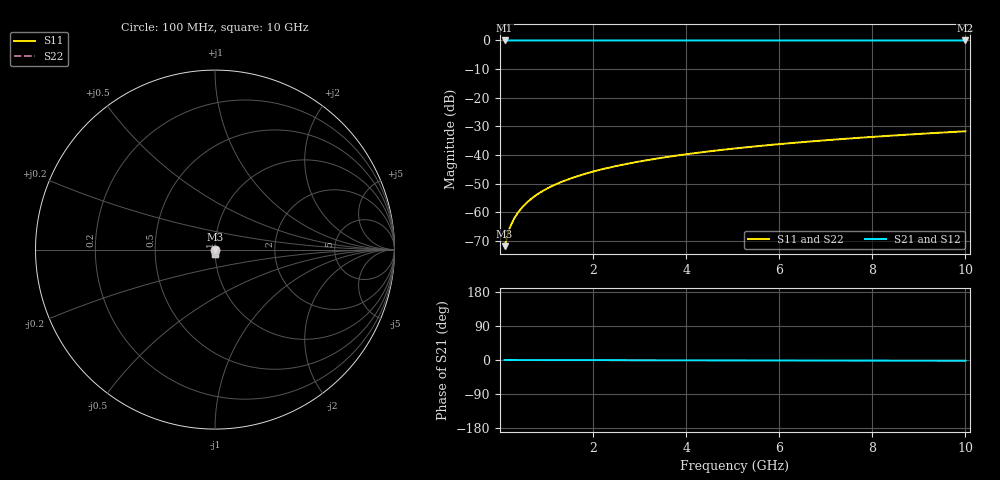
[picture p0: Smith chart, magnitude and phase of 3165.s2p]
# Hz S RI R 50.00
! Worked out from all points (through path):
!   100 points, 100 MHz to 10 GHz, reference 50 ohm
!   highest |S21| = 0.00 dB at 100 MHz (marker M1); lowest = 0.0 dB at 10 GHz (marker M2)
!   lowest |S11| = -71.8 dB at 100 MHz (marker M3), VSWR 1.00, Z = 50 - j0.0258 ohm
!   |S11| at or under -10 dB: start of sweep to end of sweep
!   |S22| runs from -71.8 to -31.7 dB; largest |S21 - S12| = 0
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1e8  1.74e-05 -0.000258  1 -0.000359  1 -0.000359  1.74e-05 -0.000258
2e8  1.69e-05 -0.000515  1 -0.000719  1 -0.000719  1.69e-05 -0.000515
3e8  1.63e-05 -0.000773  1 -0.00108  1 -0.00108  1.63e-05 -0.000773
4e8  1.54e-05 -0.00103  1 -0.00144  1 -0.00144  1.54e-05 -0.00103
5e8  1.43e-05 -0.00129  1 -0.0018  1 -0.0018  1.43e-05 -0.00129
6e8  1.31e-05 -0.00155  1 -0.00216  1 -0.00216  1.31e-05 -0.00155
7e8  1.16e-05 -0.0018  1 -0.00252  1 -0.00252  1.16e-05 -0.0018
8e8  9.97e-06 -0.00206  1 -0.00288  1 -0.00288  9.97e-06 -0.00206
9e8  8.14e-06 -0.00232  1 -0.00324  1 -0.00324  8.14e-06 -0.00232
1.1e9  3.92e-06 -0.00283  1 -0.00396  1 -0.00396  3.92e-06 -0.00283
1.4e9  -3.82e-06 -0.00361  1 -0.00504  1 -0.00504  -3.82e-06 -0.00361
1.8e9  -1.68e-05 -0.00464  0.9999 -0.00648  0.9999 -0.00648  -1.68e-05 -0.00464
2.1e9  -2.84e-05 -0.00542  0.9999 -0.00756  0.9999 -0.00756  -2.84e-05 -0.00542
2.5e9  -4.66e-05 -0.00645  0.9999 -0.009  0.9999 -0.009  -4.66e-05 -0.00645
2.9e9  -6.79e-05 -0.00749  0.9999 -0.0104  0.9999 -0.0104  -6.79e-05 -0.00749
3.4e9  -9.86e-05 -0.00878  0.9999 -0.0123  0.9999 -0.0123  -9.86e-05 -0.00878
4.2e9  -0.000158 -0.0109  0.9998 -0.0151  0.9998 -0.0151  -0.000158 -0.0109
5.1e9  -0.000239 -0.0132  0.9997 -0.0184  0.9997 -0.0184  -0.000239 -0.0132
5.9e9  -0.000324 -0.0153  0.9996 -0.0213  0.9996 -0.0213  -0.000324 -0.0153
6.7e9  -0.000421 -0.0174  0.9995 -0.0242  0.9995 -0.0242  -0.000421 -0.0174
8.4e9  -0.00067 -0.0218  0.9993 -0.0304  0.9993 -0.0304  -0.00067 -0.0218
1e10  -0.000955 -0.026  0.9989 -0.0363  0.9989 -0.0363  -0.000955 -0.026
